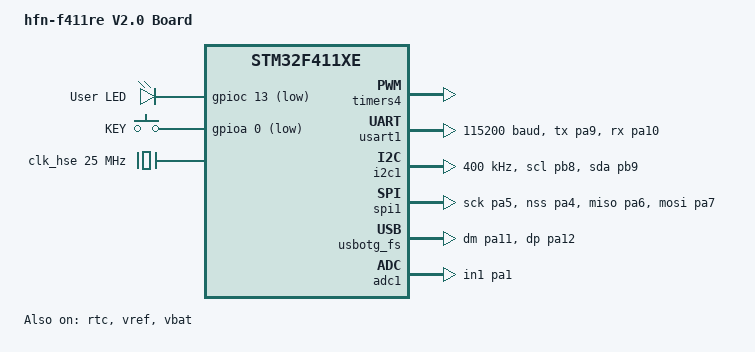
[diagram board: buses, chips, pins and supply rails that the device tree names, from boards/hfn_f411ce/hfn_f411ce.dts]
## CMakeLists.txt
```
cmake_minimum_required(VERSION 3.20.0)

# Encontrar o Zephyr e configurar o projeto
find_package(Zephyr REQUIRED HINTS $ENV{ZEPHYR_BASE})
project(indicador-zigbee)

# Incluir configurações comuns do subsistema USB do Zephyr
include(${ZEPHYR_BASE}/samples/subsys/usb/common/common.cmake)

# Diretórios de cabeçalhos para todo o projeto
zephyr_include_directories(
    ${CMAKE_CURRENT_SOURCE_DIR}/src/include
    ${CMAKE_CURRENT_SOURCE_DIR}/src/screen
    ${CMAKE_CURRENT_SOURCE_DIR}/src/fonts
)

# Adicionar arquivos-fonte ao aplicativo
target_sources(app PRIVATE
    ${CMAKE_CURRENT_SOURCE_DIR}/src/main.c
    ${CMAKE_CURRENT_SOURCE_DIR}/src/adc.c
    ${CMAKE_CURRENT_SOURCE_DIR}/src/usb_cdc.c
    ${CMAKE_CURRENT_SOURCE_DIR}/src/buzzer.c
    ${CMAKE_CURRENT_SOURCE_DIR}/src/display_manager.c
    ${CMAKE_CURRENT_SOURCE_DIR}/src/screen/basic_widgets.c
    ${CMAKE_CURRENT_SOURCE_DIR}/src/screen/basic_events.c
    ${CMAKE_CURRENT_SOURCE_DIR}/src/screen/main_screen.c
)

set(LVGL_DIR ${ZEPHYR_BASE}/modules/lib/gui/lvgl)
```

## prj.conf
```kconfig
# Basic
CONFIG_ARM_MPU=y
CONFIG_FPU=y
CONFIG_GPIO=y
CONFIG_FLASH=y
CONFIG_DMA=y
CONFIG_ADC=y
CONFIG_SPI=y
CONFIG_DISPLAY=y
CONFIG_CRC=y
# MIPI DBI e ST7789V (nova API)
CONFIG_MIPI_DBI=y
CONFIG_ST7789V=y
CONFIG_INPUT=y
CONFIG_INPUT_LONGPRESS=y

CONFIG_INPUT_FT5336_INTERRUPT=y

CONFIG_SOC_FLASH_STM32=y
CONFIG_FLASH_EX_OP_ENABLED=y
CONFIG_FLASH_STM32_READOUT_PROTECTION=y

# LVGL Settings
CONFIG_LVGL=y
CONFIG_LV_Z_MEM_POOL_SIZE=16384
CONFIG_LV_Z_VDB_SIZE=10
CONFIG_LV_Z_FLUSH_THREAD=y

CONFIG_MAIN_STACK_SIZE=8192
CONFIG_LV_Z_BITS_PER_PIXEL=16
CONFIG_LV_COLOR_DEPTH_16=y
CONFIG_LV_COLOR_16_SWAP=y
CONFIG_LV_FONT_DEFAULT_MONTSERRAT_24=y
CONFIG_LV_FONT_MONTSERRAT_48=y


CONFIG_LV_USE_ANIMIMG=y
CONFIG_LV_USE_ARC=y
CONFIG_LV_USE_BAR=y
CONFIG_LV_USE_CANVAS=y
CONFIG_LV_USE_CHART=y
CONFIG_LV_USE_CHECKBOX=y
CONFIG_LV_USE_DROPDOWN=y
CONFIG_LV_USE_LABEL=y
CONFIG_LV_USE_LED=y
CONFIG_LV_USE_LINE=y
CONFIG_LV_USE_SPINBOX=y
CONFIG_LV_USE_SPINNER=y
CONFIG_LV_USE_SWITCH=y
CONFIG_LV_USE_TABLE=y
CONFIG_LV_USE_TABVIEW=y
CONFIG_LV_USE_TILEVIEW=y
CONFIG_LV_USE_WIN=y
CONFIG_LV_USE_BUTTON=y

CONFIG_LV_LOG_LEVEL_INFO=y
CONFIG_LV_LOG_LEVEL_USER=y
CONFIG_LV_LOG_PRINTF=y
CONFIG_LV_USE_LOG=y

# XBEE
CONFIG_SERIAL=y
CONFIG_UART_ASYNC_API=y
CONFIG_UART_LINE_CTRL=y

# PWM
CONFIG_PWM=y

# USB CDC ACM NEXT
CONFIG_USB_DEVICE_STACK_NEXT=y
CONFIG_SAMPLE_USBD_MANUFACTURER="HFN"
CONFIG_USBD_CDC_ACM_CLASS=y
CONFIG_SAMPLE_USBD_PID=0x0001
CONFIG_SAMPLE_USBD_PRODUCT="USBD CDC ACM sample"

# Console
CONFIG_CONSOLE=y
CONFIG_UART_CONSOLE=y
CONFIG_BOOT_BANNER=n

# Binary descriptors
CONFIG_BINDESC=y
CONFIG_BINDESC_DEFINE=y
CONFIG_BINDESC_DEFINE_BUILD_TIME=y
CONFIG_BINDESC_BUILD_DATE_TIME_STRING=y
CONFIG_BINDESC_DEFINE_VERSION=y
CONFIG_BINDESC_KERNEL_VERSION_STRING=y
CONFIG_BINDESC_KERNEL_VERSION_MAJOR=y
CONFIG_BINDESC_APP_VERSION_STRING=y

#HFN CONFIGS
CONFIG_HFN_DEBUG_DEBOUNCE=y
CONFIG_HFN_ZIGBEE_DEBUG_TX=n
CONFIG_HFN_ZIGBEE_DEBUG_RX=n
CONFIG_HFN_ENABLE_FLASH_READ_PROTECTION=y

CONFIG_SHELL=y
CONFIG_I2C_SHELL=y


CONFIG_DEBUG=y
CONFIG_LOG=y
CONFIG_LOG_DEFAULT_LEVEL=1
```

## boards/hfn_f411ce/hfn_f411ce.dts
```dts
/*
 * Copyright (c) 2020 Brian Bradley <brian.bradley.p@gmail.com>
 * Copyright (c) 2021 Kalyan Sriram <coder.kalyan@gmail.com>
 *
 * SPDX-License-Identifier: Apache-2.0
 */

/dts-v1/;
#include <st/f4/stm32f411Xe.dtsi>
#include <st/f4/stm32f411c(c-e)ux-pinctrl.dtsi>
#include <zephyr/dt-bindings/input/input-event-codes.h>

/ {
	model = "hfn-f411re V2.0 Board";
	compatible = "hfn,nfh-f411ce";

	chosen {
		zephyr,console = &usart1;
		zephyr,shell-uart = &usart1;
		zephyr,sram = &sram0;
		// zephyr,flash = &flash0;
	};

	leds {
		compatible = "gpio-leds";
		user_led: led {
			gpios = <&gpioc 13 GPIO_ACTIVE_LOW>;
			label = "User LED";
		};
	};

	gpio_keys {
		compatible = "gpio-keys";
		user_button: button {
			label = "KEY";
			gpios = <&gpioa 0 (GPIO_ACTIVE_LOW | GPIO_PULL_UP)>;
			zephyr,code = <INPUT_KEY_0>;
		};
	};

	aliases {
		led0 = &user_led;
		sw0 = &user_button;
		volt-sensor0 = &vref;
		volt-sensor1 = &vbat;
	};
};

&timers4 {
	status = "okay";

	pwm4: pwm {
		status = "okay";
		pinctrl-0 = <&tim4_ch1_pb6 &tim4_ch2_pb7>;
		pinctrl-names = "default";
	};
};

&usart1 {
	pinctrl-0 = <&usart1_tx_pa9 &usart1_rx_pa10>;
	pinctrl-names = "default";
	status = "okay";
	current-speed = <115200>;
};

&i2c1 {
	pinctrl-0 = <&i2c1_scl_pb8 &i2c1_sda_pb9>;
	pinctrl-names = "default";
	status = "okay";
	clock-frequency = <I2C_BITRATE_FAST>;
};

&spi1 {
	pinctrl-0 = <&spi1_sck_pa5 &spi1_nss_pa4
		     	&spi1_miso_pa6 &spi1_mosi_pa7>;
	pinctrl-names = "default";
	status = "okay";
};

&rtc {
	clocks = <&rcc STM32_CLOCK_BUS_APB1 0x10000000>,
		 <&rcc STM32_SRC_LSI RTC_SEL(2)>;
	status = "okay";
};

zephyr_udc0: &usbotg_fs {
	pinctrl-0 = <&usb_otg_fs_dm_pa11 &usb_otg_fs_dp_pa12>;
	pinctrl-names = "default";
	status = "okay";
};

&adc1 {
	pinctrl-0 = <&adc1_in1_pa1>;
	pinctrl-names = "default";
	st,adc-clock-source = "SYNC";
	st,adc-prescaler = <2>;
	status = "okay";
};

&clk_lsi {
	status = "okay";
};

&clk_hse {
	clock-frequency = <DT_FREQ_M(25)>;
	status = "okay";
};

&pll {
	div-m = <25>;
	mul-n = <192>;
	div-p = <2>;
	div-q = <4>;
	clocks = <&clk_hse>;
	status = "okay";
};

&rcc {
	clocks = <&pll>;
	clock-frequency = <DT_FREQ_M(96)>;
	ahb-prescaler = <1>;
	apb1-prescaler = <2>;
	apb2-prescaler = <1>;
};

&vref {
	status = "okay";
};

&vbat {
	status = "okay";
};
```

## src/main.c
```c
#include "include/main.h"
#include "include/adc.h"
#include "main_screen.h"
#include "buzzer.h"
#include "display_manager.h"

#include "screen/basic_widgets.h"
#include "screen/main_screen.h"

#include <zephyr/bindesc.h>
#include <zephyr/input/input.h>

#define STACKSIZE 2048
#define PRIORITY  7

static void button_input_callback(struct input_event *evt, void *user_data);
static void adc_thread(void);

INPUT_CALLBACK_DEFINE(NULL, button_input_callback, 0);

static void button_input_callback(struct input_event *evt, void *user_data)
{
    if (evt->value == 1) // Button pressed
    {
        #if defined(CONFIG_HFN_DEBUG_DEBOUNCE)
        printk("input event: dev=%-16s type=%2x code=%3d value=%d\n",
        evt->dev ? evt->dev->name : "NULL", evt->type, evt->code, evt->value);
        #endif

        switch (evt->code) {
        case INPUT_KEY_DOWN: // Function button
            break;
        case INPUT_KEY_UP: // Backlight button
            break;
        case INPUT_KEY_LEFT: // Tare button
            break;
        case INPUT_KEY_R: // Tare button long press
            break;
        case INPUT_KEY_ENTER: // On/Off button
            break;
        case INPUT_KEY_RIGHT: // Gross/Net button
            break;
        case INPUT_KEY_RIGHTSHIFT: // Gross/Net button long press
            break;
        default:
            printk("Unknown button code: %d\n", evt->code);
            break;
        }
    }
}

static void adc_thread(void)
{
    double val_percent;
    adc_init();
    
    while (1) {
        k_msleep(1000);
        
        val_percent = adc_read_val_percent_bbat();
        val_percent = adc_read_val_percent_pilbat();
    }
}

int main(void)
{
    buzzer_init();
    printk("init version - %s\r\n", BINDESC_GET_STR(app_version_string));

    display_init_screens();
    
    #if 0
    /* basic screen demo */
    main_screen_create();
    main_screen_show();
    #endif

    #if 1
    basic_widgets_ex1();
    #endif

    while (true)
    {
        display_update();
        k_msleep(1000);
    }

    return 0;
}

K_THREAD_DEFINE(adc3_id, STACKSIZE, adc_thread, NULL, NULL, NULL,
                PRIORITY, 0, 0);
```

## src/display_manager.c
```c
#include <zephyr/kernel.h>
#include <zephyr/device.h>
#include <zephyr/devicetree.h>
#include <zephyr/drivers/display.h>
#include <zephyr/drivers/pwm.h>
#include <lvgl.h>
#include "display_manager.h"
#include <zephyr/dt-bindings/input/input-event-codes.h>

#define BACKLIGHT DT_ALIAS(pwm_led0)

static uint8_t g_backlight_scale = 4;
static const struct pwm_dt_spec pwm_backlight = PWM_DT_SPEC_GET(BACKLIGHT);
static const struct device *display_device = DEVICE_DT_GET(DT_CHOSEN(zephyr_display));

/* LVGL Init*/
void display_init_screens(void)
{
    if (!device_is_ready(display_device))
    {
        printk("Display init error!");
    }

    if (!device_is_ready(pwm_backlight.dev))
    {
        printk("Error: PWM device %s is not ready\n",
               pwm_backlight.dev->name);
    }

    lv_init();

    display_set_backlight(1);
    printk("LVGL initialized\r\n");
}

void display_update(void)
{
    lv_task_handler();
    display_blanking_off(display_device);
}

int display_map_button_cb(int btn)
{
    uint32_t key = 0;

    switch (btn)
    {
        case INPUT_KEY_UP: // Backlight
            key = LV_KEY_UP;
            break;
        case INPUT_KEY_LEFT: // Power
            key = LV_KEY_LEFT;
            break;
        case INPUT_KEY_RIGHT:// Tare
            key = LV_KEY_RIGHT;
            break;
        case INPUT_KEY_DOWN: // Function
            key = LV_KEY_DOWN;
            break;
        case INPUT_KEY_ENTER: // Gross/Net
            key = LV_KEY_ENTER;
            break;
        case INPUT_KEY_R:
        default:
            return -EINVAL;
    }

    return 0;
}

int display_set_backlight(uint8_t brightness)
{
    int ret;

    if(brightness > DISPLAY_MAX_BLACKLIGHT_LEVEL)
    {
        return -EINVAL;
    }

    ret = pwm_set_pulse_dt(&pwm_backlight, (brightness * pwm_backlight.period) / DISPLAY_MAX_BLACKLIGHT_LEVEL);
    return ret;
}

void display_inc_blacklight_level(void)
{
    display_set_backlight(g_backlight_scale);

    if (++g_backlight_scale > DISPLAY_MAX_BLACKLIGHT_LEVEL)
    {
        g_backlight_scale = 1;
    }
}
```
